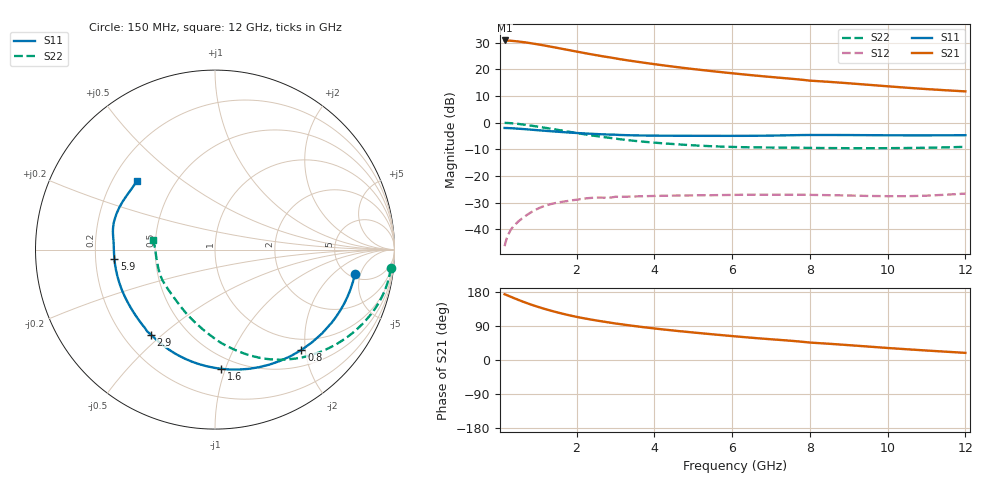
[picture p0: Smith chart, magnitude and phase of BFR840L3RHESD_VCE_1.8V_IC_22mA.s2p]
! Infineon Technologies  Discrete & RF Semiconductors
! BFR840L3RHESD
! VCE =  1.8 V,  IC =  22 mA
! Common Emitter S-Parameters:  Jun 2012
# GHz  S  MA  R  50
!  f  S11  S21  S12  S22
! GHz  MAG  ANG  MAG  ANG  MAG  ANG  MAG  ANG
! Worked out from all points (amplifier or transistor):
!   91 points, 150 MHz to 12 GHz, reference 50 ohm
!   highest |S21| = 30.8 dB at 150 MHz (marker M1)
!   |S21| within 3 dB of that: start of sweep to 1.58 GHz
!   unconditionally stable (mu >= 1): 7.243 GHz to end of sweep
!   at 1.3 GHz: K = 0.20, MSG = 29.6 dB, |S12| = -30.7 dB
!   at 4.3 GHz: K = 0.60, MSG = 24.4 dB, |S12| = -27.5 dB
!   at 12 GHz: K = 1.78, MAG = 14.1 dB, |S12| = -26.7 dB
!   S11 on the Smith chart (normalised r, x): 150 MHz: 5.61, -4.04; 800 MHz: 0.78, -1.92; 1.6 GHz: 0.41, -0.97; 2.9 GHz: 0.31, -0.46; 5.9 GHz: 0.28, -0.04; 12 GHz: 0.30, +0.34
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0.15  0.7911 -9.8  34.63 173.6  0.0048 77.6  0.9849 -6.1
0.3  0.7836 -19.6  34.21 167.2  0.0095 79.8  0.9735 -13.4
0.5  0.7672 -32.0  33.11 158.8  0.0139 74.3  0.9428 -22.1
0.6  0.7577 -38.0  32.44 154.8  0.0159 70.5  0.9236 -26.2
0.8  0.7378 -49.3  30.94 147.3  0.0201 63.0  0.8817 -33.9
1  0.7182 -59.8  29.31 140.5  0.0242 57.2  0.8383 -41.0
1.2  0.6994 -69.6  27.64 134.2  0.0277 53.1  0.7952 -47.7
1.4  0.6817 -78.6  25.97 128.5  0.0303 49.9  0.7531 -53.8
1.6  0.6653 -87.0  24.37 123.2  0.0323 47.0  0.7122 -59.5
1.9  0.6434 -98.4  22.14 116.0  0.0349 42.5  0.6543 -67.3
2.2  0.6249 -108.4  20.14 109.9  0.0374 38.3  0.6024 -74.2
2.5  0.6093 -117.1  18.38 104.5  0.0391 35.3  0.5583 -80.4
2.9  0.5933 -127.1  16.45 98.0  0.0392 32.4  0.5111 -87.8
3.5  0.5748 -140.2  14.01 89.5  0.0411 28.8  0.453 -97.9
4.2  0.5666 -152.3  11.9 81.0  0.0423 26.8  0.4089 -108.4
5  0.5636 -164.0  10.08 72.6  0.043 24.9  0.3741 -119.6
5.9  0.5629 -174.8  8.549 64.1  0.0438 23.3  0.3507 -131.2
6.1  0.5629 -177.0  8.26 62.2  0.044 23.1  0.3475 -133.7
8  0.5841 163.8  6.11 46.0  0.044 22.1  0.3343 -158.4
8.5  0.5841 160.0  5.792 42.8  0.0434 22.1  0.3319 -162.7
10.5  0.5753 145.9  4.495 28.3  0.0416 29.2  0.3331 -180.0
12  0.5792 138.9  3.838 18.8  0.0465 36.3  0.3502 171.0
